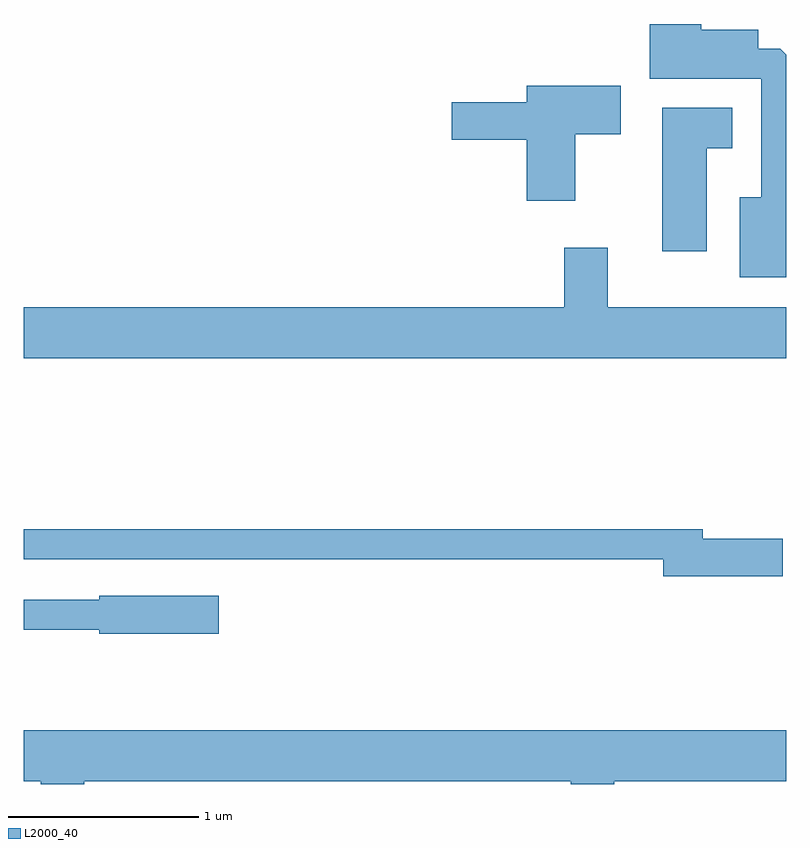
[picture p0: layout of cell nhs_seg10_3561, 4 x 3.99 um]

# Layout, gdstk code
import gdstk
lib = gdstk.Library(unit=1e-6, precision=1e-09)
def P(c, l, *ps):  # polygons
    for p in ps: c.add(gdstk.Polygon(p, *l))
L2000_40 = (2000, 40)

nhs_seg10_3561 = lib.new_cell('nhs_seg10_3561')
P(nhs_seg10_3561, L2000_40, [(293.611,2164.347),(293.579,2164.379),(293.464,2164.379),(293.464,2164.479),(293.164,2164.479),(293.164,2164.509),(292.896,2164.509),(292.896,2164.221),(293.481,2164.221),(293.481,2163.599),(293.366,2163.599),(293.366,2163.181),(293.611,2163.181)],
  [(292.504,2163.931),(292.744,2163.931),(292.744,2164.184),(292.251,2164.184),(292.251,2164.099),(291.856,2164.099),(291.856,2163.901),(292.251,2163.901),(292.251,2163.581),(292.504,2163.581)],
  [(293.194,2163.856),(293.329,2163.856),(293.329,2164.069),(292.961,2164.069),(292.961,2163.316),(293.194,2163.316)],
  [(293.611,2163.024),(292.674,2163.024),(292.674,2163.334),(292.446,2163.334),(292.446,2163.024),(289.611,2163.024),(289.611,2162.756),(293.611,2162.756)],
  [(293.594,2161.809),(293.174,2161.809),(293.174,2161.859),(289.611,2161.859),(289.611,2161.701),(292.966,2161.701),(292.966,2161.611),(293.594,2161.611)],
  [(290.634,2161.509),(290.006,2161.509),(290.006,2161.489),(289.611,2161.489),(289.611,2161.331),(290.006,2161.331),(290.006,2161.311),(290.634,2161.311)],
  [(289.929,2160.536),(292.481,2160.536),(292.481,2160.522),(292.709,2160.522),(292.709,2160.536),(293.611,2160.536),(293.611,2160.804),(289.611,2160.804),(289.611,2160.536),(289.701,2160.536),(289.701,2160.522),(289.929,2160.522)])

lib.write_gds('nhs_seg10_3561.gds')
